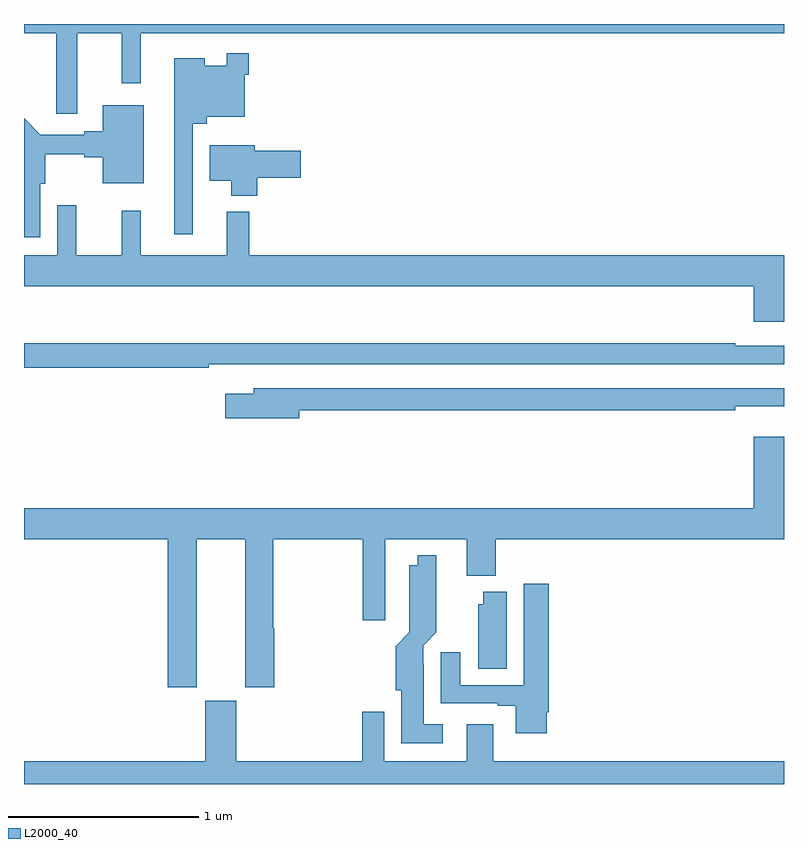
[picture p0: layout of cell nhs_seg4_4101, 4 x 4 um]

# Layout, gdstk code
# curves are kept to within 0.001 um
import gdstk
lib = gdstk.Library(unit=1e-6, precision=1e-09)
def P(c, l, *ps):  # polygons
    for p in ps: c.add(gdstk.Polygon(p, *l))
L2000_40 = (2000, 40)

nhs_seg4_4101 = lib.new_cell('nhs_seg4_4101')
P(nhs_seg4_4101, L2000_40, [(329.281,764.852),(329.515,764.852),(329.515,764.589),(329.614,764.589),(329.614,764.852),(333,764.852),(333,764.9),(329,764.9),(329,764.852),(329.171,764.852),(329.171,764.427),(329.281,764.427)],
  [(329.889,764.375),(329.963,764.375),(329.963,764.411),(330.162,764.411),(330.162,764.633),(330.182,764.633),(330.182,764.746),(330.066,764.746),(330.066,764.68),(329.95,764.68),(329.95,764.719),(329.792,764.719),(329.792,763.794),(329.889,763.794)],
  [(329.086,764.058),(329.112,764.058),(329.112,764.215),(329.318,764.215),(329.318,764.2),(329.414,764.2),(329.414,764.063),(329.629,764.063),(329.629,764.473),(329.414,764.473),(329.414,764.336),(329.318,764.336),(329.318,764.316),(329.086,764.316),(329,764.403),(329,763.778),(329.086,763.778)],
  [(330.227,764.092),(330.457,764.092),(330.457,764.234),(330.214,764.234),(330.214,764.263),(329.978,764.263),(329.978,764.075),(330.092,764.075),(330.092,763.997),(330.227,763.997)],
  [(333,763.684),(330.185,763.684),(330.185,763.912),(330.068,763.912),(330.068,763.684),(329.615,763.684),(329.615,763.918),(329.515,763.918),(329.515,763.684),(329.274,763.684),(329.274,763.945),(329.175,763.945),(329.175,763.684),(329,763.684),(329,763.52),(332.84,763.52),(332.84,763.332),(333,763.332)],
  [(329.972,763.11),(333,763.11),(333,763.206),(332.744,763.206),(332.744,763.219),(329,763.219),(329,763.09),(329.972,763.09)],
  [(330.448,762.868),(332.744,762.868),(332.744,762.887),(333,762.887),(333,762.984),(330.209,762.984),(330.209,762.955),(330.06,762.955),(330.06,762.826),(330.448,762.826)],
  [(329.908,762.188),(330.164,762.188),(330.164,761.409),(330.317,761.409),(330.317,761.721),(330.312,761.721),(330.312,762.188),(330.784,762.188),(330.784,761.763),(330.901,761.763),(330.901,762.188),(331.331,762.188),(331.331,761.996),(331.484,761.996),(331.484,762.188),(333,762.188),(333,762.727),(332.84,762.727),(332.84,762.352),(329,762.352),(329,762.188),(329.756,762.188),(329.756,761.409),(329.908,761.409)],
  [(331.204,761.215),(331.105,761.215),(331.105,761.534),(331.101,761.534),(331.101,761.628),(331.171,761.698),(331.17,762.103),(331.073,762.103),(331.073,762.052),(331.028,762.052),(331.028,761.698),(330.956,761.626),(330.956,761.394),(330.986,761.394),(330.986,761.114),(331.204,761.114)],
  [(331.75,761.278),(331.763,761.278),(331.763,761.953),(331.631,761.953),(331.631,761.421),(331.297,761.421),(331.297,761.593),(331.193,761.593),(331.193,761.325),(331.493,761.325),(331.493,761.313),(331.589,761.313),(331.589,761.166),(331.75,761.166)],
  [(331.54,761.911),(331.418,761.911),(331.418,761.847),(331.391,761.847),(331.391,761.506),(331.54,761.506)],
  [(333,761.02),(331.471,761.02),(331.471,761.215),(331.331,761.215),(331.331,761.02),(330.897,761.02),(330.897,761.281),(330.781,761.281),(330.781,761.02),(330.118,761.02),(330.118,761.337),(329.954,761.337),(329.954,761.02),(329,761.02),(329,760.9),(333,760.9)])

lib.write_gds('nhs_seg4_4101.gds')
